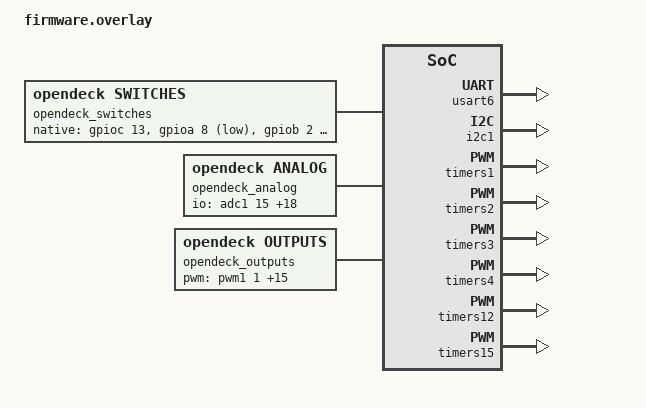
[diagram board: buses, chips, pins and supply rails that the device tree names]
/ {
    chosen {
        zephyr,console = &usart3;
        zephyr,shell-uart = &usart3;
    };

    opendeck_metadata: opendeck-metadata {
        compatible = "opendeck,metadata";
        zephyr-board = "nucleo_h753zi/stm32h753xx";
        board-name = "Nucleo H753ZI";
    };

    opendeck_transports: opendeck-transports {
        compatible = "opendeck,transports";
        uart = <&opendeck_uart_din_midi>;
        network;
    };

    opendeck_tests: opendeck-tests {
        compatible = "opendeck,tests";
        host;
    };

    opendeck_bulk_build: opendeck-bulk-build {
        compatible = "opendeck,bulk-build";
        app;
        host-test;
        lint;
    };

    opendeck_switches: opendeck-switches {
        compatible = "opendeck,switches";
        mode = "native";
        native-gpios =
            <&gpioc 13 (GPIO_PULL_DOWN | GPIO_ACTIVE_HIGH)>,
            <&gpioa 8 (GPIO_PULL_UP | GPIO_ACTIVE_LOW)>,
            <&gpiob 2 (GPIO_PULL_UP | GPIO_ACTIVE_LOW)>,
            <&gpiob 6 (GPIO_PULL_UP | GPIO_ACTIVE_LOW)>,
            <&gpiob 7 (GPIO_PULL_UP | GPIO_ACTIVE_LOW)>,
            <&gpiob 12 (GPIO_PULL_UP | GPIO_ACTIVE_LOW)>,
            <&gpioc 10 (GPIO_PULL_UP | GPIO_ACTIVE_LOW)>,
            <&gpioc 11 (GPIO_PULL_UP | GPIO_ACTIVE_LOW)>,
            <&gpioc 12 (GPIO_PULL_UP | GPIO_ACTIVE_LOW)>,
            <&gpiod 0 (GPIO_PULL_UP | GPIO_ACTIVE_LOW)>,
            <&gpiod 1 (GPIO_PULL_UP | GPIO_ACTIVE_LOW)>,
            <&gpiod 2 (GPIO_PULL_UP | GPIO_ACTIVE_LOW)>,
            <&gpiod 3 (GPIO_PULL_UP | GPIO_ACTIVE_LOW)>,
            <&gpiod 4 (GPIO_PULL_UP | GPIO_ACTIVE_LOW)>,
            <&gpiod 5 (GPIO_PULL_UP | GPIO_ACTIVE_LOW)>,
            <&gpiod 6 (GPIO_PULL_UP | GPIO_ACTIVE_LOW)>,
            <&gpiod 7 (GPIO_PULL_UP | GPIO_ACTIVE_LOW)>,
            <&gpiod 10 (GPIO_PULL_UP | GPIO_ACTIVE_LOW)>,
            <&gpiod 11 (GPIO_PULL_UP | GPIO_ACTIVE_LOW)>,
            <&gpioe 0 (GPIO_PULL_UP | GPIO_ACTIVE_LOW)>,
            <&gpioe 2 (GPIO_PULL_UP | GPIO_ACTIVE_LOW)>,
            <&gpioe 3 (GPIO_PULL_UP | GPIO_ACTIVE_LOW)>,
            <&gpioe 4 (GPIO_PULL_UP | GPIO_ACTIVE_LOW)>,
            <&gpioe 7 (GPIO_PULL_UP | GPIO_ACTIVE_LOW)>,
            <&gpioe 8 (GPIO_PULL_UP | GPIO_ACTIVE_LOW)>,
            <&gpioe 10 (GPIO_PULL_UP | GPIO_ACTIVE_LOW)>,
            <&gpioe 12 (GPIO_PULL_UP | GPIO_ACTIVE_LOW)>,
            <&gpioe 15 (GPIO_PULL_UP | GPIO_ACTIVE_LOW)>,
            <&gpiof 0 (GPIO_PULL_UP | GPIO_ACTIVE_LOW)>,
            <&gpiof 1 (GPIO_PULL_UP | GPIO_ACTIVE_LOW)>,
            <&gpiof 2 (GPIO_PULL_UP | GPIO_ACTIVE_LOW)>,
            <&gpiof 13 (GPIO_PULL_UP | GPIO_ACTIVE_LOW)>,
            <&gpiof 14 (GPIO_PULL_UP | GPIO_ACTIVE_LOW)>,
            <&gpiof 15 (GPIO_PULL_UP | GPIO_ACTIVE_LOW)>,
            <&gpiog 0 (GPIO_PULL_UP | GPIO_ACTIVE_LOW)>,
            <&gpiog 1 (GPIO_PULL_UP | GPIO_ACTIVE_LOW)>,
            <&gpiog 2 (GPIO_PULL_UP | GPIO_ACTIVE_LOW)>,
            <&gpiog 3 (GPIO_PULL_UP | GPIO_ACTIVE_LOW)>,
            <&gpiog 4 (GPIO_PULL_UP | GPIO_ACTIVE_LOW)>,
            <&gpiog 5 (GPIO_PULL_UP | GPIO_ACTIVE_LOW)>,
            <&gpiog 6 (GPIO_PULL_UP | GPIO_ACTIVE_LOW)>,
            <&gpiog 7 (GPIO_PULL_UP | GPIO_ACTIVE_LOW)>,
            <&gpiog 8 (GPIO_PULL_UP | GPIO_ACTIVE_LOW)>,
            <&gpiog 9 (GPIO_PULL_UP | GPIO_ACTIVE_LOW)>,
            <&gpiog 10 (GPIO_PULL_UP | GPIO_ACTIVE_LOW)>,
            <&gpiog 12 (GPIO_PULL_UP | GPIO_ACTIVE_LOW)>,
            <&gpiog 14 (GPIO_PULL_UP | GPIO_ACTIVE_LOW)>,
            <&gpiog 15 (GPIO_PULL_UP | GPIO_ACTIVE_LOW)>;
    };

    opendeck_analog: opendeck-analog {
        compatible = "opendeck,analog";
        mode = "native";
        io-channels =
            <&adc1 15>, /* A0 / PA3 */
            <&adc1 10>, /* A1 / PC0 */
            <&adc3 1>,  /* A2 / PC3 */
            <&adc1 5>,  /* A3 / PB1 */
            <&adc3 0>,  /* A4 / PC2 */
            <&adc3 6>,  /* A5 / PF10 */
            <&adc1 16>, /* PA0 */
            <&adc1 18>, /* PA4 */
            <&adc1 19>, /* PA5 */
            <&adc1 3>,  /* PA6 */
            <&adc1 2>,  /* PF11 */
            <&adc1 6>,  /* PF12 */
            <&adc3 5>,  /* PF3 */
            <&adc3 9>,  /* PF4 */
            <&adc3 4>,  /* PF5 */
            <&adc3 8>,  /* PF6 */
            <&adc3 3>,  /* PF7 */
            <&adc3 7>,  /* PF8 */
            <&adc3 2>;  /* PF9 */
    };

    opendeck_outputs: opendeck-outputs {
        compatible = "opendeck,outputs";
        mode = "pwm";
        pwms =
            <&pwm1 1 PWM_MSEC(1) PWM_POLARITY_NORMAL>,
            <&pwm1 2 PWM_MSEC(1) PWM_POLARITY_NORMAL>,
            <&pwm1 3 PWM_MSEC(1) PWM_POLARITY_NORMAL>,
            <&pwm1 4 PWM_MSEC(1) PWM_POLARITY_NORMAL>,
            <&pwm2 3 PWM_MSEC(1) PWM_POLARITY_NORMAL>,
            <&pwm2 4 PWM_MSEC(1) PWM_POLARITY_NORMAL>,
            <&pwm3 2 PWM_MSEC(1) PWM_POLARITY_NORMAL>,
            <&pwm3 3 PWM_MSEC(1) PWM_POLARITY_NORMAL>,
            <&pwm3 4 PWM_MSEC(1) PWM_POLARITY_NORMAL>,
            <&pwm4 1 PWM_MSEC(1) PWM_POLARITY_NORMAL>,
            <&pwm4 2 PWM_MSEC(1) PWM_POLARITY_NORMAL>,
            <&pwm4 3 PWM_MSEC(1) PWM_POLARITY_NORMAL>,
            <&pwm4 4 PWM_MSEC(1) PWM_POLARITY_NORMAL>,
            <&pwm12 2 PWM_MSEC(1) PWM_POLARITY_NORMAL>,
            <&pwm15 1 PWM_MSEC(1) PWM_POLARITY_NORMAL>,
            <&pwm15 2 PWM_MSEC(1) PWM_POLARITY_NORMAL>;
    };

    opendeck_touchscreen: opendeck-touchscreen {
        compatible = "opendeck,touchscreen";
        component-count = <64>;
        uart = <&opendeck_uart_touchscreen>;
    };
    opendeck_i2c: opendeck-i2c {
        compatible = "opendeck,i2c";
        bus = <&opendeck_i2c_bus>;
    };
};

&usart6 {
    status = "okay";
};

&i2c1 {
    status = "okay";
};

&timers1 {
    status = "okay";
    st,prescaler = <3>;

    pwm1: pwm {
        pinctrl-0 = <&tim1_ch1_pe9 &tim1_ch2_pe11 &tim1_ch3_pe13 &tim1_ch4_pe14>;
        pinctrl-names = "default";
        status = "okay";
    };
};

&timers2 {
    status = "okay";
    st,prescaler = <3>;

    pwm2: pwm {
        pinctrl-0 = <&tim2_ch3_pb10 &tim2_ch4_pb11>;
        pinctrl-names = "default";
        status = "okay";
    };
};

&timers3 {
    status = "okay";
    st,prescaler = <3>;

    pwm3: pwm {
        pinctrl-0 = <&tim3_ch2_pb5 &tim3_ch3_pc8 &tim3_ch4_pc9>;
        pinctrl-names = "default";
        status = "okay";
    };
};

&timers4 {
    status = "okay";
    st,prescaler = <3>;

    pwm4: pwm {
        pinctrl-0 = <&tim4_ch1_pd12 &tim4_ch2_pd13 &tim4_ch3_pd14 &tim4_ch4_pd15>;
        pinctrl-names = "default";
        status = "okay";
    };
};

&timers12 {
    status = "okay";
    st,prescaler = <3>;

    pwm12: pwm {
        pinctrl-0 = <&tim12_ch2_pb15>;
        pinctrl-names = "default";
        status = "okay";
    };
};

&timers15 {
    status = "okay";
    st,prescaler = <3>;

    pwm15: pwm {
        pinctrl-0 = <&tim15_ch1_pe5 &tim15_ch2_pe6>;
        pinctrl-names = "default";
        status = "okay";
    };
};
